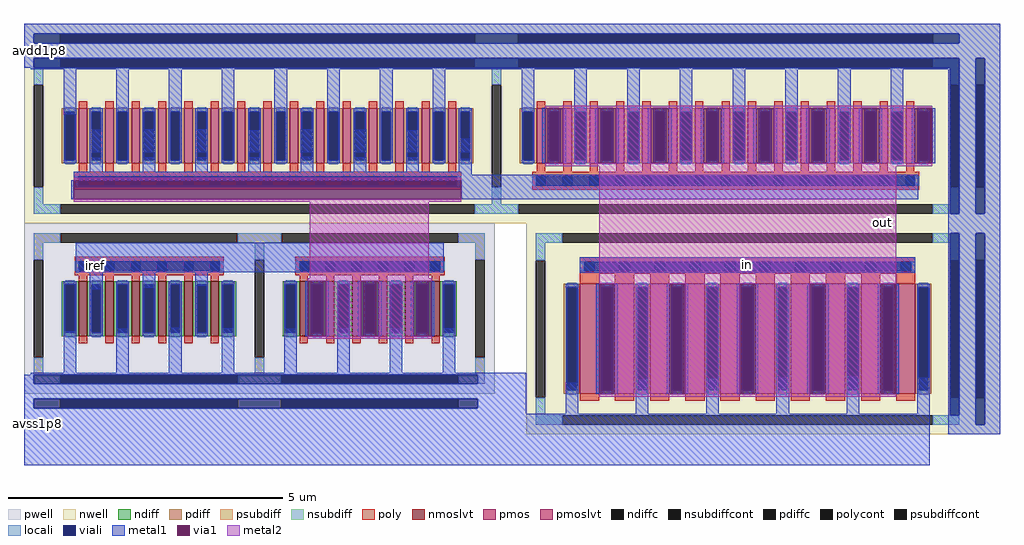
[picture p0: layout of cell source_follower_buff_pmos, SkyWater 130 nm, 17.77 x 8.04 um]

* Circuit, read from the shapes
.subckt source_follower_buff_pmos avdd1p8 avss1p8 in iref out
XM1 iref iref avss1p8 avss1p8 sky130_fd_pr__nfet_01v8_lvt w=1 l=0.15 m=6
XM2 n1 iref avss1p8 avss1p8 sky130_fd_pr__nfet_01v8_lvt w=1 l=0.15 m=6
XM3 n1 n1 avdd1p8 avdd1p8 sky130_fd_pr__pfet_01v8 w=1 l=0.15 m=15
XM4 out n1 avdd1p8 avdd1p8 sky130_fd_pr__pfet_01v8 w=1 l=0.15 m=15
XM5 out in avss1p8 avdd1p8 sky130_fd_pr__pfet_01v8_lvt w=2 l=0.35 m=10
.ends

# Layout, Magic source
magic
tech sky130A
magscale 1 2
<< nwell >>
rect -51 1207 3503 1296
rect 3391 641 3503 1207
rect 3385 573 3503 641
rect 3321 -129 3503 573
rect 1777 -199 3247 -129
rect 3315 -199 3503 -129
<< pwell >>
rect -15 -103 1601 -69
<< psubdiff >>
rect -15 -103 81 -69
rect 727 -103 885 -69
rect 1531 -103 1601 -69
<< nsubdiff >>
rect -15 1226 81 1260
rect 1591 1226 1749 1260
rect 3259 1226 3355 1260
rect 3414 1075 3448 1171
rect 3414 605 3448 701
rect 3414 436 3448 533
rect 3414 -163 3448 -66
<< psubdiffcont >>
rect 81 -103 727 -69
rect 885 -103 1531 -69
<< nsubdiffcont >>
rect 81 1226 1591 1260
rect 1749 1226 3259 1260
rect 3414 701 3448 1075
rect 3414 -66 3448 436
<< viali >>
rect -15 1226 81 1260
rect 81 1226 1591 1260
rect 1591 1226 1749 1260
rect 1749 1226 3259 1260
rect 3259 1226 3355 1260
rect -15 1137 3355 1171
rect 3321 605 3355 1137
rect 3414 1075 3448 1171
rect 3414 701 3448 1075
rect 3414 605 3448 701
rect -15 -15 1601 19
rect -15 -103 81 -69
rect 81 -103 727 -69
rect 727 -103 885 -69
rect 885 -103 1531 -69
rect 1531 -103 1601 -69
rect 3321 -129 3355 533
rect 3414 436 3448 533
rect 3414 -66 3448 436
rect 3414 -163 3448 -66
<< metal1 >>
rect -51 1260 3503 1296
rect -51 1226 -15 1260
rect 3355 1226 3503 1260
rect -51 1171 3503 1226
rect -51 1137 -15 1171
rect -27 1131 3321 1137
rect 93 967 139 1131
rect 285 981 331 1131
rect 477 984 523 1131
rect 669 983 715 1131
rect 861 984 907 1131
rect 1053 982 1099 1131
rect 1245 983 1291 1131
rect 1437 984 1483 1131
rect 1761 982 1807 1131
rect 189 828 235 910
rect 381 828 427 913
rect 573 828 619 912
rect 765 828 811 909
rect 957 828 1003 912
rect 1149 828 1195 911
rect 1341 828 1387 908
rect 1533 828 1579 878
rect 189 757 235 808
rect 381 757 427 810
rect 573 757 619 811
rect 765 757 811 810
rect 957 757 1003 812
rect 1149 757 1195 810
rect 1341 757 1387 810
rect 1533 757 1579 805
rect 1837 788 1847 988
rect 1913 788 1923 988
rect 1953 981 1999 1131
rect 2029 788 2039 988
rect 2105 788 2115 988
rect 2145 982 2191 1131
rect 2221 788 2231 988
rect 2297 788 2307 988
rect 2337 987 2383 1131
rect 2413 788 2423 988
rect 2489 788 2499 988
rect 2529 983 2575 1131
rect 2605 788 2615 988
rect 2681 788 2691 988
rect 2721 983 2767 1131
rect 2797 788 2807 988
rect 2873 788 2883 988
rect 2913 982 2959 1131
rect 2989 788 2999 988
rect 3065 788 3075 988
rect 3105 982 3151 1131
rect 3181 788 3191 988
rect 3257 788 3267 988
rect 131 747 1579 757
rect 131 726 3205 747
rect 121 658 131 726
rect 1541 658 3205 726
rect 3315 605 3321 1131
rect 3355 605 3414 1171
rect 3448 605 3503 1171
rect 3315 533 3503 605
rect 137 393 1477 499
rect 189 329 235 393
rect 381 335 427 393
rect 573 343 619 393
rect 659 391 952 393
rect 1973 390 3195 446
rect 93 25 139 177
rect 285 25 331 185
rect 477 25 523 190
rect 669 25 715 188
rect 897 25 943 185
rect 973 159 983 359
rect 1049 159 1059 359
rect 1089 25 1135 188
rect 1165 159 1175 359
rect 1241 159 1251 359
rect 1281 25 1327 188
rect 1357 159 1367 359
rect 1433 159 1443 359
rect 1473 25 1519 187
rect -27 19 1777 25
rect -51 -15 -15 19
rect 1601 -15 1777 19
rect -51 -69 1777 -15
rect -51 -103 -15 -69
rect 1601 -103 1777 -69
rect -51 -123 1777 -103
rect 1921 -123 1967 -11
rect 2033 -51 2043 349
rect 2101 -51 2111 349
rect 2177 -123 2223 1
rect 2289 -51 2299 349
rect 2357 -51 2367 349
rect 2433 -123 2479 4
rect 2545 -51 2555 349
rect 2613 -51 2623 349
rect 2689 -123 2735 9
rect 2801 -51 2811 349
rect 2869 -51 2879 349
rect 2945 -123 2991 13
rect 3057 -51 3067 349
rect 3125 -51 3135 349
rect 3201 -123 3247 8
rect -51 -311 3247 -123
rect 3315 -129 3321 533
rect 3355 -129 3414 533
rect 3315 -163 3414 -129
rect 3448 -163 3503 533
rect 3315 -199 3503 -163
<< via1 >>
rect 1847 788 1913 988
rect 2039 788 2105 988
rect 2231 788 2297 988
rect 2423 788 2489 988
rect 2615 788 2681 988
rect 2807 788 2873 988
rect 2999 788 3065 988
rect 3191 788 3257 988
rect 131 658 1541 726
rect 983 159 1049 359
rect 1175 159 1241 359
rect 1367 159 1433 359
rect 2043 -51 2101 349
rect 2299 -51 2357 349
rect 2555 -51 2613 349
rect 2811 -51 2869 349
rect 3067 -51 3125 349
<< metal2 >>
rect 1847 988 3257 998
rect 1913 788 2039 988
rect 2105 788 2231 988
rect 2297 788 2423 988
rect 2489 788 2615 988
rect 2681 788 2807 988
rect 2873 788 2999 988
rect 3065 788 3191 988
rect 1847 778 3257 788
rect 131 726 1541 736
rect 131 648 1541 658
rect 990 369 1423 648
rect 983 359 1433 369
rect 1049 159 1175 359
rect 1241 159 1367 359
rect 983 149 1433 159
rect 2043 349 3125 778
rect 2101 -51 2299 349
rect 2357 -51 2555 349
rect 2613 -51 2811 349
rect 2869 -51 3067 349
rect 2043 -61 3125 -51
use sky130_fd_pr__pfet_01v8_VCU74W  sky130_fd_pr__pfet_01v8_VCU74W_0
transform 1 0 836 0 1 888
box -887 -319 887 319
use sky130_fd_pr__pfet_01v8_VCU74W  sky130_fd_pr__pfet_01v8_VCU74W_1
transform 1 0 2504 0 1 888
box -887 -319 887 319
use sky130_fd_pr__pfet_01v8_lvt_D3F744  sky130_fd_pr__pfet_01v8_lvt_D3F744_0
transform 1 0 2584 0 1 185
box -807 -384 807 384
use sky130_fd_pr__nfet_01v8_lvt_9B2JY7  sky130_fd_pr__nfet_01v8_lvt_9B2JY7_0 
transform 1 0 404 0 1 259
box -455 -310 455 310
use sky130_fd_pr__nfet_01v8_lvt_9B2JY7  sky130_fd_pr__nfet_01v8_lvt_9B2JY7_1
transform 1 0 1208 0 1 259
box -455 -310 455 310
<< labels >>
rlabel metal2 3060 554 3092 593 1 out
rlabel metal1 195 395 227 434 1 iref
rlabel metal1 -18 -180 14 -141 1 avss1p8
rlabel metal1 -9 1181 23 1220 1 avdd1p8
rlabel metal1 1973 390 3195 446 1 in
<< end >>

# cell sky130_fd_pr__pfet_01v8_VCU74W: kit device sky130_fd_pr__pfet_01v8, w 1 l 0.15 m 1 nf 15 diffcov 100 polycov 100 guard 1 glc 1 grc 1 gtc 1 gbc 1 tbcov 100 rlcov 100 topc 1 botc 1 poverlap 0 doverlap 1 lmin 0.15 wmin 0.42 compatible {sky130_fd_pr__pfet_01v8 sky130_fd_pr__pfet_01v8_lvt sky130_fd_pr__pfet_01v8_hvt sky130_fd_pr__pfet_g5v0d10v5} full_metal 1 viasrc 100 viadrn 100 viagate 100 viagb 0 viagr 0 viagl 0 viagt 0

# cell sky130_fd_pr__pfet_01v8_lvt_D3F744: kit device sky130_fd_pr__pfet_01v8_lvt, w 2 l 0.35 m 1 nf 10 diffcov 100 polycov 100 guard 1 glc 1 grc 1 gtc 1 gbc 1 tbcov 100 rlcov 100 topc 1 botc 0 poverlap 0 doverlap 1 lmin 0.35 wmin 0.42 compatible {sky130_fd_pr__pfet_01v8 sky130_fd_pr__pfet_01v8_lvt sky130_fd_pr__pfet_01v8_hvt sky130_fd_pr__pfet_g5v0d10v5} full_metal 1 viasrc 100 viadrn 100 viagate 100 viagb 0 viagr 0 viagl 0 viagt 0

# cell sky130_fd_pr__nfet_01v8_lvt_9B2JY7: kit device sky130_fd_pr__nfet_01v8_lvt, w 1 l 0.150 m 1 nf 6 diffcov 100 polycov 100 guard 1 glc 1 grc 1 gtc 1 gbc 1 tbcov 100 rlcov 100 topc 1 botc 1 poverlap 0 doverlap 1 lmin 0.15 wmin 0.42 compatible {sky130_fd_pr__nfet_01v8 sky130_fd_pr__nfet_01v8_lvt sky130_fd_bs_flash__special_sonosfet_star sky130_fd_pr__nfet_g5v0d10v5 sky130_fd_pr__nfet_05v0_nvt sky130_fd_pr__nfet_03v3_nvt} full_metal 1 viasrc 100 viadrn 100 viagate 100 viagb 0 viagr 0 viagl 0 viagt 0
